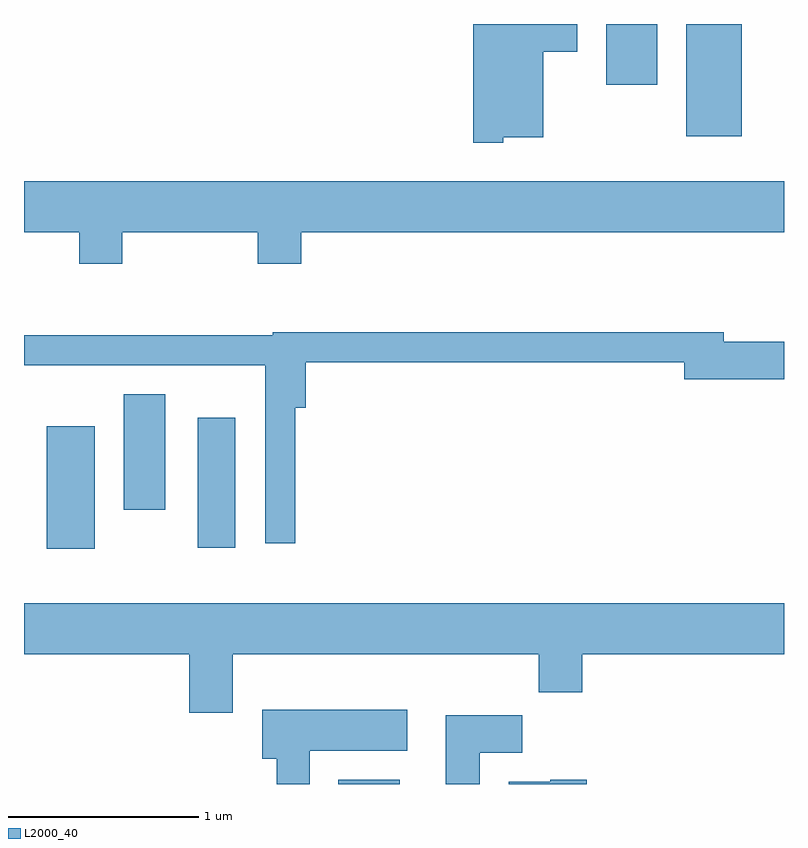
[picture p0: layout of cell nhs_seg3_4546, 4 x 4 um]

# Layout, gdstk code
import gdstk
lib = gdstk.Library(unit=1e-6, precision=1e-09)
def R(c, l, rs):  # rectangles x0, y0, x1, y1
    for r in rs: c.add(gdstk.rectangle(r[:2], r[2:], *l))
def P(c, l, *ps):  # polygons
    for p in ps: c.add(gdstk.Polygon(p, *l))
L2000_40 = (2000, 40)

nhs_seg3_4546 = lib.new_cell('nhs_seg3_4546')
R(nhs_seg3_4546, L2000_40, [(319.266,1231.892,319.589,1231.914), (317.731,1233.131,317.984,1233.774), (318.526,1233.136,318.724,1233.819), (318.136,1233.336,318.354,1233.944), (321.096,1235.301,321.389,1235.892), (320.676,1235.571,320.944,1235.892)])
P(nhs_seg3_4546, L2000_40, [(320.134,1235.296),(320.344,1235.296),(320.344,1235.746),(320.524,1235.746),(320.524,1235.892),(319.976,1235.892),(319.976,1235.266),(320.134,1235.266)],
  [(318.129,1234.796),(318.841,1234.796),(318.841,1234.631),(319.069,1234.631),(319.069,1234.796),(321.611,1234.796),(321.611,1235.064),(317.611,1235.064),(317.611,1234.796),(317.901,1234.796),(317.901,1234.631),(318.129,1234.631)],
  [(319.039,1233.871),(319.094,1233.871),(319.094,1234.111),(321.086,1234.111),(321.086,1234.021),(321.611,1234.021),(321.611,1234.219),(321.294,1234.219),(321.294,1234.269),(318.92,1234.269),(318.92,1234.254),(317.611,1234.254),(317.611,1234.096),(318.881,1234.096),(318.881,1233.158),(319.039,1233.158)],
  [(318.709,1232.576),(320.321,1232.576),(320.321,1232.376),(320.549,1232.376),(320.549,1232.576),(321.611,1232.576),(321.611,1232.844),(317.611,1232.844),(317.611,1232.576),(318.481,1232.576),(318.481,1232.266),(318.709,1232.266)],
  [(319.114,1232.066),(319.629,1232.066),(319.629,1232.284),(318.866,1232.284),(318.866,1232.026),(318.941,1232.026),(318.941,1231.892),(319.114,1231.892)],
  [(320.009,1232.056),(320.234,1232.056),(320.234,1232.254),(319.831,1232.254),(319.831,1231.892),(320.009,1231.892)],
  [(320.574,1231.914),(320.38,1231.914),(320.38,1231.904),(320.161,1231.904),(320.161,1231.892),(320.574,1231.892)])

lib.write_gds('nhs_seg3_4546.gds')
